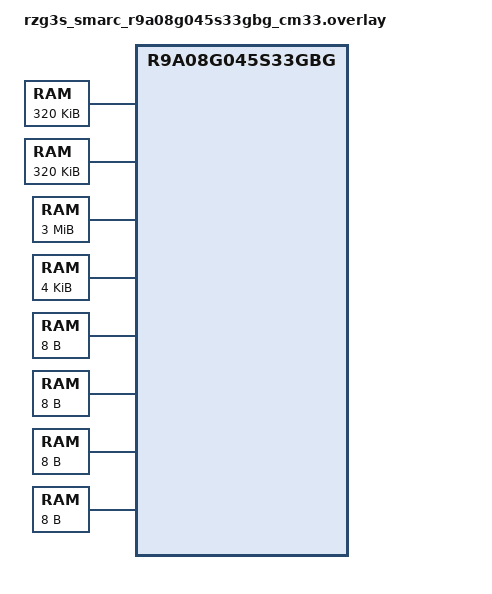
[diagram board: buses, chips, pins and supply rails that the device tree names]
/*
 * Copyright (c) 2024 Epam Systems
 * Copyright (c) 2024-2025 Renesas Electronics Corporation
 * SPDX-License-Identifier: Apache-2.0
 */

/ {
	/*
	 * Allocating whole openamp region as reserved memory
	 * to save MPU entries
	 */
	reserved-memory {
		#address-cells = <1>;
		#size-cells = <1>;
		ranges;

		openamp_shm: memory-region@62F00000 {
			compatible = "zephyr,memory-region";
			reg = <0x62F00000 0x600000>;
			zephyr,memory-region = "openamp_memory";
			zephyr,memory-attr = <DT_MEM_ARM(ATTR_MPU_IO)>;
		};
	};

	chosen {
		zephyr,ipc_shm = &vring_shm0;
		zephyr,ipc = &mbox_consumer;
	};

	vring_ctrl0: memory@63000000 {
		compatible = "mmio-sram";
		reg = <0x63000000 0x50000>;
	};

	vring_ctrl1: memory@63050000 {
		compatible = "mmio-sram";
		reg = <0x63050000 0x50000>;
	};

	vring_shm0: memory@63200000 {
		compatible = "mmio-sram";
		reg = <0x63200000 0x300000>;
	};

	rsctbl: memory@62F00000 {
		compatible = "mmio-sram";
		reg = <0x62F00000 0x1000>;
	};

	mhu1_shm: memory@62F01008 {
		compatible = "mmio-sram";
		reg = <0x62F01008 0x8>;
	};

	mhu3_shm: memory@62F01018 {
		compatible = "mmio-sram";
		reg = <0x62F01018 0x8>;
	};

	mhu4_shm: memory@62F01020 {
		compatible = "mmio-sram";
		reg = <0x62F01020 0x8>;
	};

	mhu5_shm: memory@62F01028 {
		compatible = "mmio-sram";
		reg = <0x62F01028 0x8>;
	};

	mbox_consumer: mbox-consumer {
		compatible = "vnd,mbox-consumer";
		mboxes = <&mbox1 1>, <&mbox1 0>;
		mbox-names = "tx", "rx";
	};
};

&mbox1 {
	shared-memory = <&mhu1_shm>;
	status = "okay";
};
